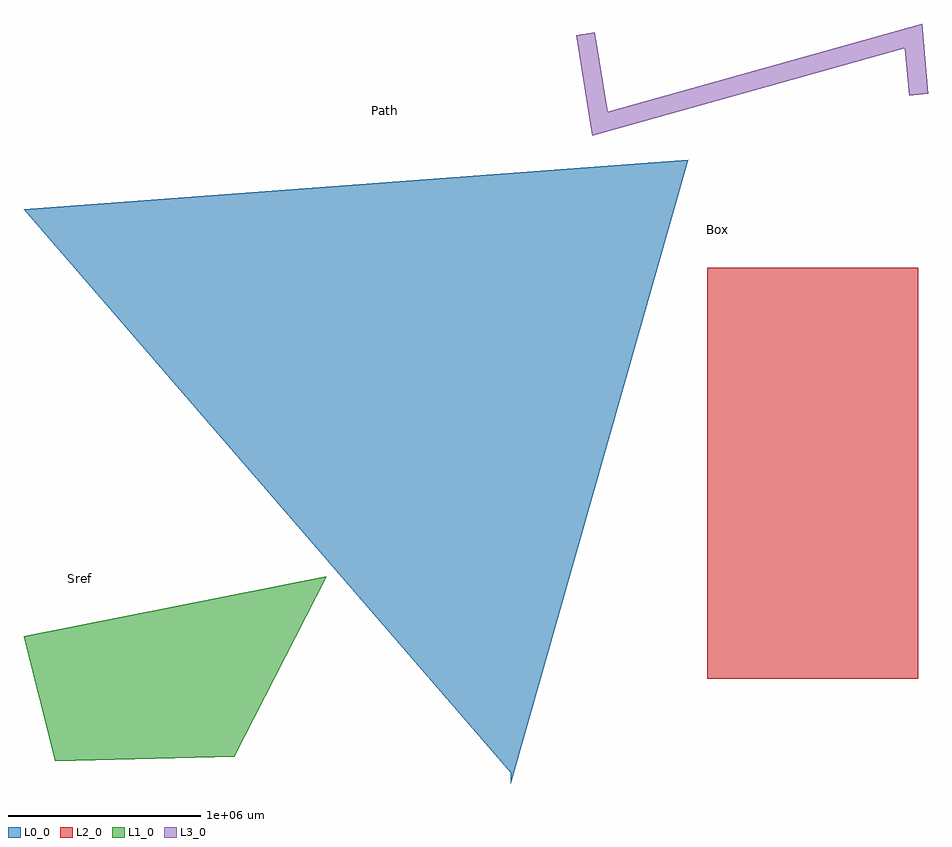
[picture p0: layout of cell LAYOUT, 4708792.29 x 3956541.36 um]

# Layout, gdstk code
import gdstk
lib = gdstk.Library(unit=1e-6, precision=1e-08)
def R(c, l, rs):  # rectangles x0, y0, x1, y1
    for r in rs: c.add(gdstk.rectangle(r[:2], r[2:], *l))
def P(c, l, *ps):  # polygons
    for p in ps: c.add(gdstk.Polygon(p, *l))
L0_0 = (0, 0)
L1_0 = (1, 0)
L2_0 = (2, 0)
L3_0 = (3, 0)

aap = lib.new_cell('AAP')
P(aap, L1_0, [(-920000,452000),(656500,765500),(175000,-174000),(-756000,-198000)])

layout = lib.new_cell('LAYOUT')
P(layout, L0_0, [(-2032000,1410000),(1427000,1666000),(502000,-1580500),(502000,-1523500)])
R(layout, L2_0, [(1526500,-1034500,2623500,1105500)])
layout.add(gdstk.FlexPath([(891912,2322024),(966537,1854278),(2599515,2311647),(2626485,2005353)], 100000, ends="flush", simple_path=True, layer=3, datatype=0))  # L3_0
layout.add(gdstk.Reference(aap, (-1112500,-1267000)))
layout.add(gdstk.Label('Boundary', (-2256500,1539500), layer=1, texttype=0))
layout.add(gdstk.Label('Path', (-151500,1924500), layer=1, texttype=0))
layout.add(gdstk.Label('Sref', (-1740000,-511500), layer=1, texttype=0))
layout.add(gdstk.Label('Box', (1579000,1301500), layer=1, texttype=0))

lib.write_gds('LAYOUT.gds')
